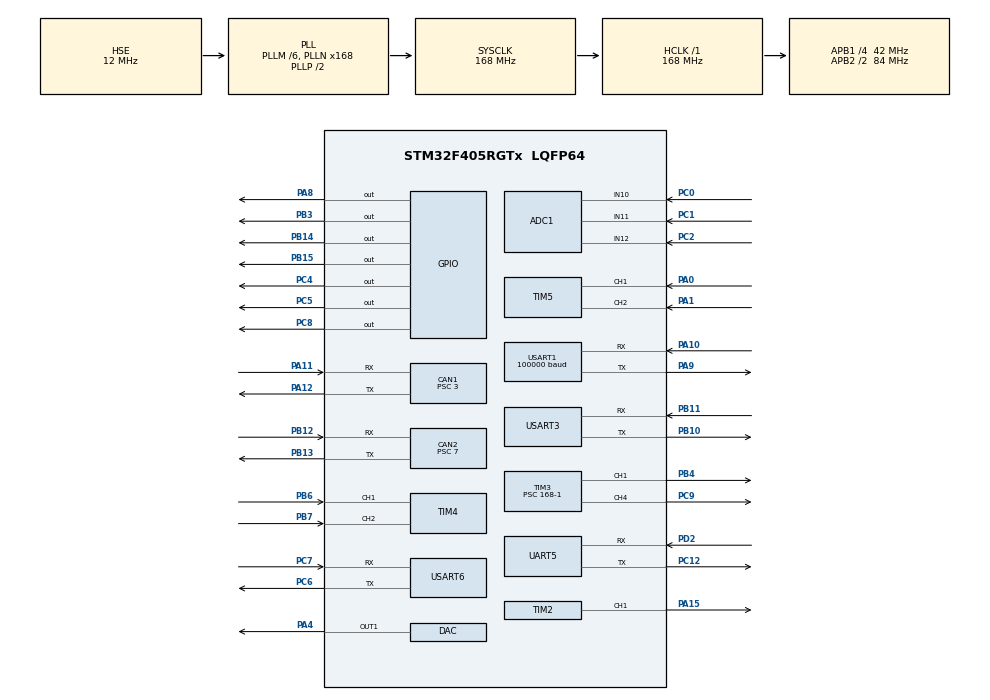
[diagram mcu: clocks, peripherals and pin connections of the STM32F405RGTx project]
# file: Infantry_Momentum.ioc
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ADC1.Channel-3\#ChannelRegularConversion=ADC_CHANNEL_10
ADC1.Channel-4\#ChannelRegularConversion=ADC_CHANNEL_11
ADC1.Channel-5\#ChannelRegularConversion=ADC_CHANNEL_12
ADC1.ContinuousConvMode=ENABLE
ADC1.DMAContinuousRequests=ENABLE
ADC1.EOCSelection=ADC_EOC_SEQ_CONV
ADC1.NbrOfConversion=3
ADC1.NbrOfConversionFlag=1
ADC1.Rank-3\#ChannelRegularConversion=1
ADC1.Rank-4\#ChannelRegularConversion=2
ADC1.Rank-5\#ChannelRegularConversion=3
ADC1.SamplingTime-3\#ChannelRegularConversion=ADC_SAMPLETIME_15CYCLES
ADC1.SamplingTime-4\#ChannelRegularConversion=ADC_SAMPLETIME_15CYCLES
ADC1.SamplingTime-5\#ChannelRegularConversion=ADC_SAMPLETIME_15CYCLES
ADC1.ScanConvMode=ENABLE
ADC1.master=1
CAN1.BS1=CAN_BS1_9TQ
CAN1.BS2=CAN_BS2_4TQ
CAN1.CalculateBaudRate=1000000
CAN1.CalculateTimeBit=999.99
CAN1.CalculateTimeQuantum=71.42857142857143
CAN1.Prescaler=3
CAN2.BS1=CAN_BS1_3TQ
CAN2.BS2=CAN_BS2_2TQ
CAN2.CalculateBaudRate=1000000
CAN2.CalculateTimeBit=999.99
CAN2.CalculateTimeQuantum=166.66666666666669
CAN2.Prescaler=7
Dma.ADC1.4.Direction=DMA_PERIPH_TO_MEMORY
Dma.ADC1.4.FIFOMode=DMA_FIFOMODE_DISABLE
Dma.ADC1.4.Instance=DMA2_Stream0
Dma.ADC1.4.MemDataAlignment=DMA_MDATAALIGN_WORD
Dma.ADC1.4.MemInc=DMA_MINC_ENABLE
Dma.ADC1.4.Mode=DMA_CIRCULAR
Dma.ADC1.4.PeriphDataAlignment=DMA_PDATAALIGN_WORD
Dma.ADC1.4.PeriphInc=DMA_PINC_DISABLE
Dma.ADC1.4.Priority=DMA_PRIORITY_LOW
Dma.Request0=UART5_RX
Dma.Request1=USART1_RX
Dma.Request2=USART3_RX
Dma.Request3=USART6_RX
Dma.Request4=ADC1
Dma.UART5_RX.0.Direction=DMA_PERIPH_TO_MEMORY
Dma.UART5_RX.0.FIFOMode=DMA_FIFOMODE_DISABLE
Dma.UART5_RX.0.Instance=DMA1_Stream0
Dma.UART5_RX.0.MemDataAlignment=DMA_MDATAALIGN_BYTE
Dma.UART5_RX.0.MemInc=DMA_MINC_ENABLE
Dma.UART5_RX.0.Mode=DMA_CIRCULAR
Dma.UART5_RX.0.PeriphDataAlignment=DMA_PDATAALIGN_BYTE
Dma.UART5_RX.0.PeriphInc=DMA_PINC_DISABLE
Dma.UART5_RX.0.Priority=DMA_PRIORITY_LOW
Dma.USART1_RX.1.Direction=DMA_PERIPH_TO_MEMORY
Dma.USART1_RX.1.FIFOMode=DMA_FIFOMODE_DISABLE
Dma.USART1_RX.1.Instance=DMA2_Stream2
Dma.USART1_RX.1.MemDataAlignment=DMA_MDATAALIGN_BYTE
Dma.USART1_RX.1.MemInc=DMA_MINC_ENABLE
Dma.USART1_RX.1.Mode=DMA_CIRCULAR
Dma.USART1_RX.1.PeriphDataAlignment=DMA_PDATAALIGN_BYTE
Dma.USART1_RX.1.PeriphInc=DMA_PINC_DISABLE
Dma.USART1_RX.1.Priority=DMA_PRIORITY_LOW
Dma.USART3_RX.2.Direction=DMA_PERIPH_TO_MEMORY
Dma.USART3_RX.2.FIFOMode=DMA_FIFOMODE_DISABLE
Dma.USART3_RX.2.Instance=DMA1_Stream1
Dma.USART3_RX.2.MemDataAlignment=DMA_MDATAALIGN_BYTE
Dma.USART3_RX.2.MemInc=DMA_MINC_ENABLE
Dma.USART3_RX.2.Mode=DMA_CIRCULAR
Dma.USART3_RX.2.PeriphDataAlignment=DMA_PDATAALIGN_BYTE
Dma.USART3_RX.2.PeriphInc=DMA_PINC_DISABLE
Dma.USART3_RX.2.Priority=DMA_PRIORITY_LOW
Dma.USART6_RX.3.Direction=DMA_PERIPH_TO_MEMORY
Dma.USART6_RX.3.FIFOMode=DMA_FIFOMODE_DISABLE
Dma.USART6_RX.3.Instance=DMA2_Stream1
Dma.USART6_RX.3.MemDataAlignment=DMA_MDATAALIGN_BYTE
Dma.USART6_RX.3.MemInc=DMA_MINC_ENABLE
Dma.USART6_RX.3.Mode=DMA_CIRCULAR
Dma.USART6_RX.3.PeriphDataAlignment=DMA_PDATAALIGN_BYTE
Dma.USART6_RX.3.PeriphInc=DMA_PINC_DISABLE
Dma.USART6_RX.3.Priority=DMA_PRIORITY_LOW
FREERTOS.INCLUDE_eTaskGetState=1
FREERTOS.INCLUDE_pcTaskGetTaskName=1
FREERTOS.INCLUDE_uxTaskGetStackHighWaterMark=1
FREERTOS.INCLUDE_uxTaskGetStackHighWaterMark2=1
FREERTOS.INCLUDE_vTaskCleanUpResources=1
FREERTOS.INCLUDE_vTaskDelayUntil=1
FREERTOS.INCLUDE_xQueueGetMutexHolder=1
FREERTOS.INCLUDE_xSemaphoreGetMutexHolder=1
FREERTOS.INCLUDE_xTaskAbortDelay=1
FREERTOS.INCLUDE_xTaskGetCurrentTaskHandle=1
FREERTOS.INCLUDE_xTaskGetHandle=1
FREERTOS.Queues01=BusCommSend_Queue,30,uint8_t,0,Dynamic,NULL,NULL
FREERTOS.Tasks01=defaultTask,0,128,StartDefaultTask,Default,NULL,Dynamic,NULL,NULL;Gimbal,0,128,Gimbal_Task,Default,NULL,Dynamic,NULL,NULL;BusComm,0,128,BusComm_Task,Default,NULL,Dynamic,NULL,NULL;Remote,0,128,Remote_Task,Default,NULL,Dynamic,NULL,NULL;Chassis,0,128,Chassis_Task,Default,NULL,Dynamic,NULL,NULL;SuperCap,0,128,SuperCap_Task,Default,NULL,Dynamic,NULL,NULL;Shoot,0,128,Shoot_Task,Default,NULL,Dynamic,NULL,NULL;MiniPC,0,128,MiniPC_Task,Default,NULL,Dynamic,NULL,NULL;Referee,0,128,Referee_Task,Default,NULL,Dynamic,NULL,NULL;WatchDog,0,128,WatchDog_Task,Default,NULL,Dynamic,NULL,NULL
FREERTOS.configENABLE_FPU=1
FREERTOS.configUSE_COUNTING_SEMAPHORES=0
FREERTOS.configUSE_RECURSIVE_MUTEXES=0
Mcu.Family=STM32F4
Mcu.Name=STM32F405RGTx
Mcu.Package=LQFP64
NVIC.CAN1_RX0_IRQn=true\:5\:0\:false\:false\:true\:true\:true\:true
NVIC.CAN2_RX0_IRQn=true\:5\:0\:false\:false\:true\:true\:true\:true
NVIC.DMA1_Stream0_IRQn=true\:5\:0\:false\:false\:true\:true\:false\:true
NVIC.DMA1_Stream1_IRQn=true\:5\:0\:false\:false\:true\:true\:false\:true
NVIC.DMA2_Stream0_IRQn=true\:5\:0\:false\:false\:true\:true\:false\:true
NVIC.DMA2_Stream1_IRQn=true\:5\:0\:false\:false\:true\:true\:false\:true
NVIC.DMA2_Stream2_IRQn=true\:5\:0\:false\:false\:true\:true\:false\:true
NVIC.PriorityGroup=NVIC_PRIORITYGROUP_4
NVIC.TIM7_IRQn=true\:0\:0\:false\:false\:true\:false\:false\:true
NVIC.TimeBase=TIM7_IRQn
NVIC.TimeBaseIP=TIM7
NVIC.UART5_IRQn=true\:5\:0\:false\:false\:true\:true\:true\:true
NVIC.USART1_IRQn=true\:5\:0\:false\:false\:true\:true\:true\:true
NVIC.USART3_IRQn=true\:5\:0\:false\:false\:true\:true\:true\:true
NVIC.USART6_IRQn=true\:5\:0\:false\:false\:true\:true\:true\:true
PA0-WKUP.Signal=S_TIM5_CH1
PA1.Signal=S_TIM5_CH2
PA10.Mode=Asynchronous
PA10.Signal=USART1_RX
PA11.Mode=CAN_Activate
PA11.Signal=CAN1_RX
PA12.Mode=CAN_Activate
PA12.Signal=CAN1_TX
PA13.Mode=Serial_Wire
PA13.Signal=SYS_JTMS-SWDIO
PA14.Mode=Serial_Wire
PA14.Signal=SYS_JTCK-SWCLK
PA15.Signal=S_TIM2_CH1_ETR
PA2.Signal=ADCx_IN2
PA3.Signal=ADCx_IN3
PA4.Signal=COMP_DAC1_group
PA5.Signal=ADCx_IN5
PA8.Signal=GPIO_Output
PA9.Mode=Asynchronous
PA9.Signal=USART1_TX
PB10.Mode=Asynchronous
PB10.Signal=USART3_TX
PB11.Mode=Asynchronous
PB11.Signal=USART3_RX
PB12.Mode=CAN_Activate
PB12.Signal=CAN2_RX
PB13.Mode=CAN_Activate
PB13.Signal=CAN2_TX
PB14.Signal=GPIO_Output
PB15.Signal=GPIO_Output
PB3.Signal=GPIO_Output
PB4.Signal=S_TIM3_CH1
PB6.Signal=S_TIM4_CH1
PB7.Signal=S_TIM4_CH2
PC0.Signal=ADCx_IN10
PC1.Signal=ADCx_IN11
PC12.Mode=Asynchronous
PC12.Signal=UART5_TX
PC2.Signal=ADCx_IN12
PC4.Signal=GPIO_Output
PC5.Signal=GPIO_Output
PC6.Mode=Asynchronous
PC6.Signal=USART6_TX
PC7.Mode=Asynchronous
PC7.Signal=USART6_RX
PC8.Signal=GPIO_Output
PC9.Signal=S_TIM3_CH4
PD2.Mode=Asynchronous
PD2.Signal=UART5_RX
PH0-OSC_IN.Mode=HSE-External-Oscillator
PH0-OSC_IN.Signal=RCC_OSC_IN
PH1-OSC_OUT.Mode=HSE-External-Oscillator
PH1-OSC_OUT.Signal=RCC_OSC_OUT
ProjectManager.HeapSize=0x200
ProjectManager.StackSize=0x400
ProjectManager.TargetToolchain=MDK-ARM V5.27
RCC.48MHZClocksFreq_Value=84000000
RCC.AHBFreq_Value=168000000
RCC.APB1CLKDivider=RCC_HCLK_DIV4
RCC.APB1Freq_Value=42000000
RCC.APB1TimFreq_Value=84000000
RCC.APB2CLKDivider=RCC_HCLK_DIV2
RCC.APB2Freq_Value=84000000
RCC.APB2TimFreq_Value=168000000
RCC.CortexFreq_Value=168000000
RCC.HCLKFreq_Value=168000000
RCC.HSE_VALUE=12000000
RCC.HSI_VALUE=16000000
RCC.LSE_VALUE=32768
RCC.PLLM=6
RCC.PLLN=168
RCC.PLLSourceVirtual=RCC_PLLSOURCE_HSE
RCC.SYSCLKFreq_VALUE=168000000
RCC.SYSCLKSource=RCC_SYSCLKSOURCE_PLLCLK
RCC.VCOOutputFreq_Value=336000000
SH.ADCx_IN10.0=ADC1_IN10,IN10
SH.ADCx_IN11.0=ADC1_IN11,IN11
SH.ADCx_IN12.0=ADC1_IN12,IN12
SH.ADCx_IN2.0=ADC1_IN2
SH.ADCx_IN3.0=ADC1_IN3
SH.ADCx_IN5.0=ADC1_IN5
SH.COMP_DAC1_group.0=DAC_OUT1,DAC_OUT1
SH.S_TIM2_CH1_ETR.0=TIM2_CH1,PWM Generation1 CH1
SH.S_TIM3_CH1.0=TIM3_CH1,PWM Generation1 CH1
SH.S_TIM3_CH4.0=TIM3_CH4,PWM Generation4 CH4
SH.S_TIM4_CH1.0=TIM4_CH1,Encoder_Interface
SH.S_TIM4_CH2.0=TIM4_CH2,Encoder_Interface
SH.S_TIM5_CH1.0=TIM5_CH1,Encoder_Interface
SH.S_TIM5_CH2.0=TIM5_CH2,Encoder_Interface
TIM2.Channel-PWM\ Generation1\ CH1=TIM_CHANNEL_1
TIM2.Period=99
TIM2.Prescaler=167
TIM3.Channel-PWM\ Generation1\ CH1=TIM_CHANNEL_1
TIM3.Channel-PWM\ Generation4\ CH4=TIM_CHANNEL_4
TIM3.Period=2000-1
TIM3.Prescaler=168-1
TIM4.EncoderMode=TIM_ENCODERMODE_TI12
TIM4.IC1Filter=5
TIM4.IC2Filter=5
TIM5.EncoderMode=TIM_ENCODERMODE_TI12
TIM5.IC1Filter=5
TIM5.IC2Filter=5
UART5.Parity=PARITY_NONE
UART5.VirtualMode=Asynchronous
USART1.BaudRate=100000
USART1.Parity=PARITY_EVEN
USART1.VirtualMode=VM_ASYNC
USART3.VirtualMode=VM_ASYNC
USART6.Parity=PARITY_ODD
USART6.VirtualMode=VM_ASYNC
VP_FREERTOS_VS_CMSIS_V1.Mode=CMSIS_V1
VP_SYS_VS_tim7.Mode=TIM7
VP_TIM12_VS_ClockSourceINT.Mode=Internal
VP_TIM1_VS_ClockSourceINT.Mode=Internal
VP_TIM2_VS_ClockSourceINT.Mode=Internal
VP_TIM3_VS_ClockSourceINT.Mode=Internal
VP_TIM8_VS_ClockSourceINT.Mode=Internal
VP_TIM9_VS_ClockSourceINT.Mode=Internal
board=custom

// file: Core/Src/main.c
/* USER CODE BEGIN Header */
/**
 ******************************************************************************
 * @file           : main.c
 * @brief          : Main program body
 ******************************************************************************
 * @attention
 *
 * <h2><center>&copy; Copyright (c) 2021 STMicroelectronics.
 * All rights reserved.</center></h2>
 *
 * This software component is licensed by ST under Ultimate Liberty license
 * SLA0044, the "License"; You may not use this file except in compliance with
 * the License. You may obtain a copy of the License at:
 *                             www.st.com/SLA0044
 *
 ******************************************************************************
 */
/* USER CODE END Header */
#include "main.h"
#include "cmsis_os.h"
#include "adc.h"
#include "can.h"
#include "dac.h"
#include "dma.h"
#include "tim.h"
#include "usart.h"
#include "gpio.h"

/* USER CODE BEGIN Includes */
#include "init_ctrl.h"
/* USER CODE END Includes */

void SystemClock_Config(void);
void MX_FREERTOS_Init(void);

int main(void) {

    /* MCU Configuration--------------------------------------------------------*/

    /* Reset of all peripherals, Initializes the Flash interface and the Systick. */

    HAL_Init();

    /* Configure the system clock */
    SystemClock_Config();

    /* Initialize all configured peripherals */
    MX_GPIO_Init();
    MX_DMA_Init();
    MX_ADC1_Init();
    MX_CAN1_Init();
    MX_CAN2_Init();
    MX_DAC_Init();
    MX_UART5_Init();
    MX_USART1_UART_Init();
    MX_USART3_UART_Init();
    MX_USART6_UART_Init();
    MX_TIM2_Init();
    MX_TIM3_Init();
    MX_TIM4_Init();
    MX_TIM5_Init();
    MX_TIM1_Init();
    MX_TIM8_Init();
    MX_TIM9_Init();
    MX_TIM12_Init();
    /* USER CODE BEGIN 2 */
    Init_InitAll();
    /* USER CODE END 2 */

    /* Call init function for freertos objects (in freertos.c) */
    MX_FREERTOS_Init();
    /* Start scheduler */
    osKernelStart();

    /* We should never get here as control is now taken by the scheduler */
    /* Infinite loop */
    while (1) {

    }
}

void SystemClock_Config(void) {
    RCC_OscInitTypeDef RCC_OscInitStruct = {0};
    RCC_ClkInitTypeDef RCC_ClkInitStruct = {0};

    /** Configure the main internal regulator output voltage
     */
    __HAL_RCC_PWR_CLK_ENABLE();
    __HAL_PWR_VOLTAGESCALING_CONFIG(PWR_REGULATOR_VOLTAGE_SCALE1);
    /** Initializes the RCC Oscillators according to the specified parameters
     * in the RCC_OscInitTypeDef structure.
     */
    RCC_OscInitStruct.OscillatorType = RCC_OSCILLATORTYPE_HSE;
    RCC_OscInitStruct.HSEState = RCC_HSE_ON;
    RCC_OscInitStruct.PLL.PLLState = RCC_PLL_ON;
    RCC_OscInitStruct.PLL.PLLSource = RCC_PLLSOURCE_HSE;
    RCC_OscInitStruct.PLL.PLLM = 6;
    RCC_OscInitStruct.PLL.PLLN = 168;
    RCC_OscInitStruct.PLL.PLLP = RCC_PLLP_DIV2;
    RCC_OscInitStruct.PLL.PLLQ = 4;
    if (HAL_RCC_OscConfig(&RCC_OscInitStruct) != HAL_OK) {
        Error_Handler();
    }
    /** Initializes the CPU, AHB and APB buses clocks
     */
    RCC_ClkInitStruct.ClockType = RCC_CLOCKTYPE_HCLK | RCC_CLOCKTYPE_SYSCLK | RCC_CLOCKTYPE_PCLK1 | RCC_CLOCKTYPE_PCLK2;
    RCC_ClkInitStruct.SYSCLKSource = RCC_SYSCLKSOURCE_PLLCLK;
    RCC_ClkInitStruct.AHBCLKDivider = RCC_SYSCLK_DIV1;
    RCC_ClkInitStruct.APB1CLKDivider = RCC_HCLK_DIV4;
    RCC_ClkInitStruct.APB2CLKDivider = RCC_HCLK_DIV2;

    if (HAL_RCC_ClockConfig(&RCC_ClkInitStruct, FLASH_LATENCY_5) != HAL_OK) {
        Error_Handler();
    }
}

void HAL_TIM_PeriodElapsedCallback(TIM_HandleTypeDef* htim) {
    if (htim->Instance == TIM7) {
        HAL_IncTick();
    }
}

void Error_Handler(void) {
    __disable_irq();
    while (1) {
    }
}

/************************ (C) COPYRIGHT STMicroelectronics *****END OF FILE****/

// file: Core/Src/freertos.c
/* USER CODE BEGIN Header */
/**
 ******************************************************************************
 * File Name          : freertos.c
 * Description        : Code for freertos applications
 ******************************************************************************
 * @attention
 *
 * <h2><center>&copy; Copyright (c) 2021 STMicroelectronics.
 * All rights reserved.</center></h2>
 *
 * This software component is licensed by ST under Ultimate Liberty license
 * SLA0044, the "License"; You may not use this file except in compliance with
 * the License. You may obtain a copy of the License at:
 *                             www.st.com/SLA0044
 *
 ******************************************************************************
 */
/* USER CODE END Header */

#include "FreeRTOS.h"
#include "task.h"
#include "main.h"
#include "cmsis_os.h"

/* USER CODE BEGIN Includes */
#include "configure.h"
#include "gim_gimbal_ctrl.h"
#include "gim_miniPC_ctrl.h"
#include "gim_shoot_ctrl.h"
#include "gim_remote_ctrl.h"
#include "cha_referee_ctrl.h"
#include "cha_chassis_ctrl.h"
#include "cha_gimbal_ctrl.h"
#include "cha_power_ctrl.h"
#include "supercap_ctrl.h"
#include "buscomm_ctrl.h"
#include "watchdog_ctrl.h"
#include "supercap_comm.h"
/* USER CODE END Includes */

osThreadId defaultTaskHandle;
osThreadId GimbalHandle;
osThreadId BusCommHandle;
osThreadId RemoteHandle;
osThreadId ChassisHandle;
osThreadId SuperCapHandle;
osThreadId ShootHandle;
osThreadId MiniPCHandle;
osThreadId RefereeHandle;
osThreadId WatchDogHandle;
osMessageQId BusCommSend_QueueHandle;

void StartDefaultTask(void const* argument);
void Gimbal_Task(void const* argument);
void BusComm_Task(void const* argument);
void Remote_Task(void const* argument);
void Chassis_Task(void const* argument);
void SuperCap_Task(void const* argument);
void Shoot_Task(void const* argument);
void MiniPC_Task(void const* argument);
void Referee_Task(void const* argument);
void WatchDog_Task(void const* argument);

void MX_FREERTOS_Init(void); /* (MISRA C 2004 rule 8.1) */

/* GetIdleTaskMemory prototype (linked to static allocation support) */
void vApplicationGetIdleTaskMemory(StaticTask_t** ppxIdleTaskTCBBuffer, StackType_t** ppxIdleTaskStackBuffer, uint32_t* pulIdleTaskStackSize);

/* USER CODE BEGIN GET_IDLE_TASK_MEMORY */
static StaticTask_t xIdleTaskTCBBuffer;
static StackType_t xIdleStack[configMINIMAL_STACK_SIZE];

void vApplicationGetIdleTaskMemory(StaticTask_t** ppxIdleTaskTCBBuffer, StackType_t** ppxIdleTaskStackBuffer, uint32_t* pulIdleTaskStackSize) {
    *ppxIdleTaskTCBBuffer = &xIdleTaskTCBBuffer;
    *ppxIdleTaskStackBuffer = &xIdleStack[0];
    *pulIdleTaskStackSize = configMINIMAL_STACK_SIZE;
    /* place for user code */
}
/* USER CODE END GET_IDLE_TASK_MEMORY */

void MX_FREERTOS_Init(void) {

    /* Create the queue(s) */
    /* definition and creation of BusCommSend_Queue */
    osMessageQDef(BusCommSend_Queue, 30, uint8_t);
    BusCommSend_QueueHandle = osMessageCreate(osMessageQ(BusCommSend_Queue), NULL);

    /* Create the thread(s) */
    /* definition and creation of defaultTask */
    osThreadDef(defaultTask, StartDefaultTask, osPriorityNormal, 0, 128);
    defaultTaskHandle = osThreadCreate(osThread(defaultTask), NULL);

    /* definition and creation of Gimbal */
    osThreadDef(Gimbal, Gimbal_Task, osPriorityNormal, 0, 128);
    GimbalHandle = osThreadCreate(osThread(Gimbal), NULL);

    /* definition and creation of BusComm */
    osThreadDef(BusComm, BusComm_Task, osPriorityNormal, 0, 128);
    BusCommHandle = osThreadCreate(osThread(BusComm), NULL);

    /* definition and creation of Remote */
    osThreadDef(Remote, Remote_Task, osPriorityNormal, 0, 128);
    RemoteHandle = osThreadCreate(osThread(Remote), NULL);

    /* definition and creation of Chassis */
    osThreadDef(Chassis, Chassis_Task, osPriorityNormal, 0, 128);
    ChassisHandle = osThreadCreate(osThread(Chassis), NULL);

    /* definition and creation of SuperCap */
    osThreadDef(SuperCap, SuperCap_Task, osPriorityNormal, 0, 128);
    SuperCapHandle = osThreadCreate(osThread(SuperCap), NULL);

    /* definition and creation of Shoot */
    osThreadDef(Shoot, Shoot_Task, osPriorityNormal, 0, 128);
    ShootHandle = osThreadCreate(osThread(Shoot), NULL);

    /* definition and creation of MiniPC */
    osThreadDef(MiniPC, MiniPC_Task, osPriorityNormal, 0, 128);
    MiniPCHandle = osThreadCreate(osThread(MiniPC), NULL);

    /* definition and creation of Referee */
    osThreadDef(Referee, Referee_Task, osPriorityNormal, 0, 128);
    RefereeHandle = osThreadCreate(osThread(Referee), NULL);

    /* definition and creation of WatchDog */
    osThreadDef(WatchDog, WatchDog_Task, osPriorityNormal, 0, 128);
    WatchDogHandle = osThreadCreate(osThread(WatchDog), NULL);

}

void StartDefaultTask(void const* argument) {
    for (;;) {
        osDelay(1);
    }
}

void Gimbal_Task(void const* argument) {
    /* USER CODE BEGIN Gimbal_Task */
    /* Infinite loop */
    for (;;) {
#if __FN_IF_ENABLE(__FN_INFANTRY_GIMBAL)
        MiniPC_CalcAutoAim();
        Gimbal_CtrlPitch();
        Gimbal_CtrlYaw();
        GimbalPitch_Output();
#endif
#if __FN_IF_ENABLE(__FN_INFANTRY_CHASSIS)
        GimbalYaw_Control();
        GimbalYaw_Output();
#endif
        osDelay(1);
    }
    /* USER CODE END Gimbal_Task */
}

void BusComm_Task(void const* argument) {
    /* USER CODE BEGIN BusComm_Task */
    /* Infinite loop */
    for (;;) {
#if __FN_IF_ENABLE(__FN_INFANTRY)
        BusComm_SendBusCommData();
#endif
        osDelay(4);
    }
    /* USER CODE END BusComm_Task */
}

void Remote_Task(void const* argument) {
    /* USER CODE BEGIN Remote_Task */
    /* Infinite loop */
    for (;;) {
#if __FN_IF_ENABLE(__FN_CTRL_REMOTE)
        Remote_ControlCom();
#endif
        osDelay(1);
    }
    /* USER CODE END Remote_Task */
}

void Chassis_Task(void const* argument) {
    /* USER CODE BEGIN Chassis_Task */
    /* Infinite loop */
    for (;;) {
#if __FN_IF_ENABLE(__FN_CTRL_CHASSIS)
        Chassis_Control();
        Chassis_Output();
#endif
        osDelay(1);
    }
    /* USER CODE END Chassis_Task */
}

void SuperCap_Task(void const* argument) {
    /* USER CODE BEGIN SuperCap_Task */
    /* Infinite loop */
    for (;;) {
#if __FN_IF_ENABLE(__FN_INFANTRY_CHASSIS)
        Cap_Update();
#endif
#if __FN_IF_ENABLE(__FN_SUPER_CAP_COMM)
#if __FN_IF_ENABLE(__FN_SUPER_CAP)
        Cap_Control();
#endif
        CapComm_SendCapCommData();
#endif
        osDelay(1);
    }
    /* USER CODE END SuperCap_Task */
}

void Shoot_Task(void const* argument) {
    /* USER CODE BEGIN Shoot_Task */
    /* Infinite loop */
    for (;;) {
#if __FN_IF_ENABLE(__FN_CTRL_SHOOTER)
        Shooter_Control();
#endif
        osDelay(1);
    }
    /* USER CODE END Shoot_Task */
}

void MiniPC_Task(void const* argument) {
    /* USER CODE BEGIN MiniPC_Task */
    /* Infinite loop */
    for (;;) {
#if __FN_IF_ENABLE(__FN_PERIPH_MINIPC)
        MiniPC_SendHeartPacket();
#endif
        osDelay(100);
    }
    /* USER CODE END MiniPC_Task */
}

void Referee_Task(void const* argument) {
    /* USER CODE BEGIN Referee_Task */
    /* Infinite loop */
    for (;;) {
#if __FN_IF_ENABLE(__FN_CTRL_REFEREE)
        if (yyy_love == 1) {
            Referee_Update();
        }
#endif
        osDelay(200);
    }
    /* USER CODE END Referee_Task */
}

void WatchDog_Task(void const* argument) {
    /* USER CODE BEGIN WatchDog_Task */
    /* Infinite loop */
    for (;;) {
        WatchDog_FeedDog();
        osDelay(1);
    }
    /* USER CODE END WatchDog_Task */
}

/************************ (C) COPYRIGHT STMicroelectronics *****END OF FILE****/
